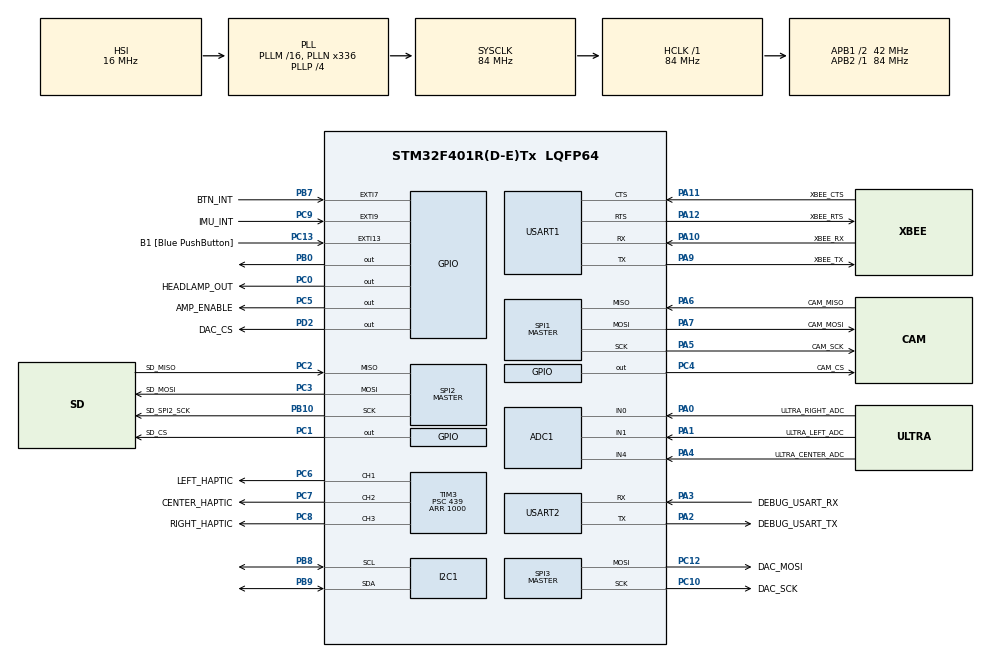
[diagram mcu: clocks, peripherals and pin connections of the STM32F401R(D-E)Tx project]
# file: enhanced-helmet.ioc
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ADC1.Channel-1\#ChannelRegularConversion=ADC_CHANNEL_0
ADC1.Channel-2\#ChannelRegularConversion=ADC_CHANNEL_1
ADC1.Channel-3\#ChannelRegularConversion=ADC_CHANNEL_4
ADC1.ClockPrescaler=ADC_CLOCK_SYNC_PCLK_DIV8
ADC1.ContinuousConvMode=DISABLE
ADC1.NbrOfConversion=3
ADC1.NbrOfConversionFlag=1
ADC1.Rank-1\#ChannelRegularConversion=1
ADC1.Rank-2\#ChannelRegularConversion=2
ADC1.Rank-3\#ChannelRegularConversion=3
ADC1.SamplingTime-1\#ChannelRegularConversion=ADC_SAMPLETIME_3CYCLES
ADC1.SamplingTime-2\#ChannelRegularConversion=ADC_SAMPLETIME_3CYCLES
ADC1.SamplingTime-3\#ChannelRegularConversion=ADC_SAMPLETIME_3CYCLES
ADC1.master=1
Dma.ADC1.2.Direction=DMA_PERIPH_TO_MEMORY
Dma.ADC1.2.FIFOMode=DMA_FIFOMODE_DISABLE
Dma.ADC1.2.Instance=DMA2_Stream0
Dma.ADC1.2.MemDataAlignment=DMA_MDATAALIGN_WORD
Dma.ADC1.2.MemInc=DMA_MINC_ENABLE
Dma.ADC1.2.Mode=DMA_CIRCULAR
Dma.ADC1.2.PeriphDataAlignment=DMA_PDATAALIGN_WORD
Dma.ADC1.2.PeriphInc=DMA_PINC_DISABLE
Dma.ADC1.2.Priority=DMA_PRIORITY_LOW
Dma.Request0=USART1_RX
Dma.Request1=USART1_TX
Dma.Request2=ADC1
Dma.USART1_RX.0.Direction=DMA_PERIPH_TO_MEMORY
Dma.USART1_RX.0.FIFOMode=DMA_FIFOMODE_DISABLE
Dma.USART1_RX.0.Instance=DMA2_Stream2
Dma.USART1_RX.0.MemDataAlignment=DMA_MDATAALIGN_BYTE
Dma.USART1_RX.0.MemInc=DMA_MINC_ENABLE
Dma.USART1_RX.0.Mode=DMA_NORMAL
Dma.USART1_RX.0.PeriphDataAlignment=DMA_PDATAALIGN_BYTE
Dma.USART1_RX.0.PeriphInc=DMA_PINC_DISABLE
Dma.USART1_RX.0.Priority=DMA_PRIORITY_LOW
Dma.USART1_TX.1.Direction=DMA_MEMORY_TO_PERIPH
Dma.USART1_TX.1.FIFOMode=DMA_FIFOMODE_DISABLE
Dma.USART1_TX.1.Instance=DMA2_Stream7
Dma.USART1_TX.1.MemDataAlignment=DMA_MDATAALIGN_BYTE
Dma.USART1_TX.1.MemInc=DMA_MINC_ENABLE
Dma.USART1_TX.1.Mode=DMA_NORMAL
Dma.USART1_TX.1.PeriphDataAlignment=DMA_PDATAALIGN_BYTE
Dma.USART1_TX.1.PeriphInc=DMA_PINC_DISABLE
Dma.USART1_TX.1.Priority=DMA_PRIORITY_LOW
FATFS._FS_LOCK=5
FATFS._FS_TINY=0
FATFS._MAX_SS=4096
FATFS._USE_LFN=1
Mcu.Family=STM32F4
Mcu.Name=STM32F401R(D-E)Tx
Mcu.Package=LQFP64
NVIC.DMA2_Stream0_IRQn=true\:2\:0\:true\:false\:true\:false\:true\:true
NVIC.DMA2_Stream2_IRQn=true\:2\:0\:true\:false\:true\:false\:true\:true
NVIC.DMA2_Stream7_IRQn=true\:2\:0\:true\:false\:true\:false\:true\:true
NVIC.EXTI15_10_IRQn=true\:1\:0\:true\:false\:true\:true\:true\:true
NVIC.EXTI9_5_IRQn=true\:1\:0\:true\:false\:true\:true\:true\:true
NVIC.PriorityGroup=NVIC_PRIORITYGROUP_2
NVIC.TIM1_BRK_TIM9_IRQn=true\:2\:0\:true\:false\:true\:true\:true\:true
NVIC.TIM1_TRG_COM_TIM11_IRQn=true\:1\:0\:true\:false\:true\:true\:true\:true
NVIC.TIM1_UP_TIM10_IRQn=true\:1\:0\:true\:false\:true\:true\:true\:true
NVIC.TIM2_IRQn=true\:2\:0\:true\:false\:true\:true\:true\:true
NVIC.TIM3_IRQn=true\:2\:0\:true\:false\:true\:true\:true\:true
NVIC.TIM4_IRQn=true\:1\:0\:true\:false\:true\:true\:true\:true
NVIC.TIM5_IRQn=true\:2\:0\:true\:false\:true\:true\:true\:true
NVIC.USART1_IRQn=true\:1\:0\:true\:false\:true\:true\:true\:true
PA0-WKUP.GPIO_Label=ULTRA_RIGHT_ADC
PA0-WKUP.Signal=ADCx_IN0
PA1.GPIO_Label=ULTRA_LEFT_ADC
PA1.Signal=ADCx_IN1
PA10.GPIO_Label=XBEE_RX
PA10.Mode=Asynchronous
PA10.Signal=USART1_RX
PA11.GPIO_Label=XBEE_CTS
PA11.Mode=CTS_RTS
PA11.Signal=USART1_CTS
PA12.GPIO_Label=XBEE_RTS
PA12.Mode=CTS_RTS
PA12.Signal=USART1_RTS
PA13.GPIO_Label=TMS
PA13.Mode=Serial_Wire
PA13.Signal=SYS_JTMS-SWDIO
PA14.GPIO_Label=TCK
PA14.Mode=Serial_Wire
PA14.Signal=SYS_JTCK-SWCLK
PA2.GPIO_Label=DEBUG_USART_TX
PA2.GPIO_Mode=GPIO_MODE_AF_PP
PA2.GPIO_PuPd=GPIO_NOPULL
PA2.GPIO_Speed=GPIO_SPEED_FREQ_LOW
PA2.Mode=Asynchronous
PA2.Signal=USART2_TX
PA3.GPIO_Label=DEBUG_USART_RX
PA3.GPIO_Mode=GPIO_MODE_AF_PP
PA3.GPIO_PuPd=GPIO_NOPULL
PA3.GPIO_Speed=GPIO_SPEED_FREQ_LOW
PA3.Mode=Asynchronous
PA3.Signal=USART2_RX
PA4.GPIO_Label=ULTRA_CENTER_ADC
PA4.Signal=ADCx_IN4
PA5.GPIO_Label=CAM_SCK
PA5.Mode=Full_Duplex_Master
PA5.Signal=SPI1_SCK
PA6.GPIO_Label=CAM_MISO
PA6.Mode=Full_Duplex_Master
PA6.Signal=SPI1_MISO
PA7.GPIO_Label=CAM_MOSI
PA7.Mode=Full_Duplex_Master
PA7.Signal=SPI1_MOSI
PA9.GPIO_Label=XBEE_TX
PA9.Mode=Asynchronous
PA9.Signal=USART1_TX
PB0.Signal=GPIO_Output
PB10.GPIO_Label=SD_SPI2_SCK
PB10.GPIO_PuPd=GPIO_PULLUP
PB10.Mode=Full_Duplex_Master
PB10.Signal=SPI2_SCK
PB3.GPIO_Label=SWO
PB3.Signal=SYS_JTDO-SWO
PB7.GPIO_Label=BTN_INT
PB7.GPIO_ModeDefaultEXTI=GPIO_MODE_IT_FALLING
PB7.Signal=GPXTI7
PB8.Mode=I2C
PB8.Signal=I2C1_SCL
PB9.Mode=I2C
PB9.Signal=I2C1_SDA
PC0.GPIO_Label=HEADLAMP_OUT
PC0.GPIO_ModeDefaultOutputPP=GPIO_MODE_OUTPUT_OD
PC0.GPIO_PuPd=GPIO_NOPULL
PC0.Signal=GPIO_Output
PC1.GPIO_Label=SD_CS
PC1.GPIO_PuPd=GPIO_PULLUP
PC1.Signal=GPIO_Output
PC10.GPIO_Label=DAC_SCK
PC10.Mode=TX_Only_Simplex_Unidirect_Master
PC10.Signal=SPI3_SCK
PC12.GPIO_Label=DAC_MOSI
PC12.Mode=TX_Only_Simplex_Unidirect_Master
PC12.Signal=SPI3_MOSI
PC13-ANTI_TAMP.GPIO_Label=B1 [Blue PushButton]
PC13-ANTI_TAMP.GPIO_ModeDefaultEXTI=GPIO_MODE_IT_FALLING
PC13-ANTI_TAMP.GPIO_PuPd=GPIO_NOPULL
PC13-ANTI_TAMP.Signal=GPXTI13
PC14-OSC32_IN.Signal=RCC_OSC32_IN
PC15-OSC32_OUT.Signal=RCC_OSC32_OUT
PC2.GPIO_Label=SD_MISO
PC2.GPIO_PuPd=GPIO_PULLUP
PC2.Mode=Full_Duplex_Master
PC2.Signal=SPI2_MISO
PC3.GPIO_Label=SD_MOSI
PC3.GPIO_PuPd=GPIO_PULLUP
PC3.Mode=Full_Duplex_Master
PC3.Signal=SPI2_MOSI
PC4.GPIO_Label=CAM_CS
PC4.Signal=GPIO_Output
PC5.GPIO_Label=AMP_ENABLE
PC5.Signal=GPIO_Output
PC6.GPIO_Label=LEFT_HAPTIC
PC6.Signal=S_TIM3_CH1
PC7.GPIO_Label=CENTER_HAPTIC
PC7.Signal=S_TIM3_CH2
PC8.GPIO_Label=RIGHT_HAPTIC
PC8.Signal=S_TIM3_CH3
PC9.GPIO_Label=IMU_INT
PC9.Signal=GPXTI9
PD2.GPIO_Label=DAC_CS
PD2.Signal=GPIO_Output
PH0\ -\ OSC_IN.Signal=RCC_OSC_IN
PH1\ -\ OSC_OUT.Signal=RCC_OSC_OUT
ProjectManager.HeapSize=0x200
ProjectManager.StackSize=0x400
ProjectManager.TargetToolchain=STM32CubeIDE
RCC.AHBFreq_Value=84000000
RCC.APB1CLKDivider=RCC_HCLK_DIV2
RCC.APB1Freq_Value=42000000
RCC.APB1TimFreq_Value=84000000
RCC.APB2Freq_Value=84000000
RCC.APB2TimFreq_Value=84000000
RCC.CortexFreq_Value=84000000
RCC.HCLKFreq_Value=84000000
RCC.HSE_VALUE=8000000
RCC.HSI_VALUE=16000000
RCC.LSE_VALUE=32768
RCC.PLLN=336
RCC.PLLP=RCC_PLLP_DIV4
RCC.PLLQ=7
RCC.SYSCLKFreq_VALUE=84000000
RCC.SYSCLKSource=RCC_SYSCLKSOURCE_PLLCLK
RCC.VCOOutputFreq_Value=336000000
SH.ADCx_IN0.0=ADC1_IN0,IN0
SH.ADCx_IN1.0=ADC1_IN1,IN1
SH.ADCx_IN4.0=ADC1_IN4,IN4
SH.S_TIM3_CH1.0=TIM3_CH1,PWM Generation1 CH1
SH.S_TIM3_CH2.0=TIM3_CH2,PWM Generation2 CH2
SH.S_TIM3_CH3.0=TIM3_CH3,PWM Generation3 CH3
SPI1.BaudRatePrescaler=SPI_BAUDRATEPRESCALER_16
SPI1.Direction=SPI_DIRECTION_2LINES
SPI1.Mode=SPI_MODE_MASTER
SPI1.VirtualType=VM_MASTER
SPI2.BaudRatePrescaler=SPI_BAUDRATEPRESCALER_8
SPI2.Direction=SPI_DIRECTION_2LINES
SPI2.Mode=SPI_MODE_MASTER
SPI2.VirtualType=VM_MASTER
SPI3.BaudRatePrescaler=SPI_BAUDRATEPRESCALER_4
SPI3.DataSize=SPI_DATASIZE_16BIT
SPI3.Direction=SPI_DIRECTION_2LINES
SPI3.Mode=SPI_MODE_MASTER
SPI3.VirtualType=VM_MASTER
TIM10.Period=20000
TIM10.Prescaler=8399
TIM11.Prescaler=42000 - 1
TIM2.Period=400000
TIM2.Prescaler=8399
TIM3.Channel-PWM\ Generation1\ CH1=TIM_CHANNEL_1
TIM3.Channel-PWM\ Generation2\ CH2=TIM_CHANNEL_2
TIM3.Channel-PWM\ Generation3\ CH3=TIM_CHANNEL_3
TIM3.Period=1000
TIM3.Prescaler=439
TIM4.AutoReloadPreload=TIM_AUTORELOAD_PRELOAD_ENABLE
TIM4.Period=7619
TIM4.Prescaler=0
TIM5.Period=1000 - 1
TIM5.Prescaler=8400 - 1
TIM9.AutoReloadPreload=TIM_AUTORELOAD_PRELOAD_DISABLE
TIM9.Period=1000
TIM9.Prescaler=8399
USART1.Parity=PARITY_NONE
USART1.VirtualMode=VM_ASYNC
USART1.WordLength=WORDLENGTH_8B
USART2.VirtualMode=VM_ASYNC
VP_FATFS_VS_Generic.Mode=User_defined
VP_TIM10_VS_ClockSourceINT.Mode=Enable_Timer
VP_TIM11_VS_ClockSourceINT.Mode=Enable_Timer
VP_TIM2_VS_ClockSourceINT.Mode=Internal
VP_TIM3_VS_ClockSourceINT.Mode=Internal
VP_TIM4_VS_ClockSourceINT.Mode=Internal
VP_TIM5_VS_ClockSourceINT.Mode=Internal
VP_TIM9_VS_ClockSourceINT.Mode=Internal
board=NUCLEO-F401RE

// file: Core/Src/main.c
/* USER CODE BEGIN Header */
/**
 ******************************************************************************
 * @file           : main.c
 * @brief          : Main program body
 ******************************************************************************
 * @attention
 *
 * Copyright (c) 2023 STMicroelectronics.
 * All rights reserved.
 *
 * This software is licensed under terms that can be found in the LICENSE file
 * in the root directory of this software component.
 * If no LICENSE file comes with this software, it is provided AS-IS.
 *
 ******************************************************************************
 */
/* USER CODE END Header */
#include "main.h"
#include "fatfs.h"

/* USER CODE BEGIN Includes */
#include <stdio.h>
#include <string.h>
#include "OV5462.h"
#include "distance_sensor_array.h"
#include "haptic_pwm.h"
#include "button_array.h"
#include "headlamp.h"
#include "xbee.h"
#include "audio.h"
#include "imu.h"
/* USER CODE END Includes */

/* USER CODE BEGIN PD */

#define CAMERA_SPI hspi1
#define SD_SPI hspi2
#define DAC_SPI hspi3

#define CAMERA_CAPTURE_TIMER htim2
#define DISTANCE_SENSOR_TIMER htim9
#define CHUNK_SIZE 4096

#define HELP_EVENT 2
#define IMPACT_EVENT 1

#define camera
#define sd

/* USER CODE END PD */

ADC_HandleTypeDef hadc1;
DMA_HandleTypeDef hdma_adc1;

I2C_HandleTypeDef hi2c1;

SPI_HandleTypeDef hspi1;
SPI_HandleTypeDef hspi2;
SPI_HandleTypeDef hspi3;

TIM_HandleTypeDef htim2;
TIM_HandleTypeDef htim3;
TIM_HandleTypeDef htim4;
TIM_HandleTypeDef htim5;
TIM_HandleTypeDef htim9;
TIM_HandleTypeDef htim10;
TIM_HandleTypeDef htim11;

UART_HandleTypeDef huart1;
UART_HandleTypeDef huart2;
DMA_HandleTypeDef hdma_usart1_rx;
DMA_HandleTypeDef hdma_usart1_tx;

/* USER CODE BEGIN PV */
// filesystem
FATFS fs;
FATFS * pfs;
FIL fil; // belongs to xbee
FIL fil_cam;
FIL audio_fil;
FRESULT fres;
DWORD fre_clust;
uint32_t total_space, free_space;
uint bw;

// devices
OV5462_t ov5462;
distance_sensor_array_t distance_sensor_array;
Audio audio;
Ext_DAC_t ext_dac;
Buttons btns;
IMU imu;

// flags
uint8_t event_flag = 0; // an impact has occurred, or help is requested
uint8_t init_complete = 0;
uint8_t countdown_flag = 0;
uint8_t alert_flag = 0;
uint8_t welcome_flag = 0;
uint8_t buttons_enable_flag = 0;
uint8_t record_btn_count = 0;
uint32_t record_btn_time = 0;

int capture_flag = 0;
int check_capturing = 0;
int is_header = 0;
int save_requested = 0;
int save_requested_flag = 0;

int impact_occurred = 0;

uint32_t start_audio_tick = 0;

char victim_filepath[MAX_PATH_LENGTH];

// state
enum CameraState { CAMERA_IDLE, CAMERA_RECAPTURE_WAIT, CAMERA_CHECK, CAMERA_SAVE };
enum CameraState camera_state = CAMERA_IDLE;

// xbee
uint32_t devices[MAX_DEVICES];
int num_registered_devices;
XBee_Data xbee_packet;
XBee_Data XBee_Received;
uint32_t UID;
uint32_t victim_uid = 0;
volatile uint8_t tr;
volatile int receiving_file;
extern uint8_t *file_buf;

// camera
uint8_t curr_camera_byte=0;
uint32_t camera_fifo_length = 0;
int camera_buf_idx = 0;
uint8_t camera_buf[CHUNK_SIZE];
int video_id = 0;
FRESULT fr;

uint8_t ULTRASONIC_IGNORE = 1;
uint8_t pulsing = 0;

/* USER CODE END PV */

void SystemClock_Config(void);
static void MX_GPIO_Init(void);
static void MX_DMA_Init(void);
static void MX_I2C1_Init(void);
static void MX_SPI2_Init(void);
static void MX_USART2_UART_Init(void);
static void MX_ADC1_Init(void);
static void MX_SPI1_Init(void);
static void MX_SPI3_Init(void);
static void MX_TIM2_Init(void);
static void MX_USART1_UART_Init(void);
static void MX_TIM3_Init(void);
static void MX_TIM10_Init(void);
static void MX_TIM4_Init(void);
static void MX_TIM11_Init(void);
static void MX_TIM9_Init(void);
static void MX_TIM5_Init(void);

/* USER CODE BEGIN 0 */

void trigger_capture() {
	printf("Capture!\r\n");
	capture_flag = 0;
	OV5462_write_spi_reg(&ov5462, ARDUCHIP_FIFO, FIFO_CLEAR_MASK); // clear flag
	OV5462_write_spi_reg(&ov5462, ARDUCHIP_FIFO, FIFO_RESET_WRITE);
	OV5462_write_spi_reg(&ov5462, ARDUCHIP_FIFO, FIFO_RESET_READ);
	OV5462_write_spi_reg(&ov5462, ARDUCHIP_FIFO, FIFO_START_MASK); // start capture

	check_capturing = 1;
	TIM2->CNT = 0;
}

int read_fifo_and_write_data_file() {
//	while (!(OV5462_read_spi_reg(&ov5462, ARDUCHIP_TRIGGER) & CAPTURE_DONE_MASK)) {}; // wait for buffer to fill before saving
//	while (!(OV5462_read_spi_reg(&ov5462, ARDUCHIP_TRIGGER) & CAPTURE_DONE_MASK)) {}; // wait for final frame
	OV5462_write_spi_reg(&ov5462, ARDUCHIP_FIFO, FIFO_RESET_READ);
	OV5462_write_spi_reg(&ov5462, ARDUCHIP_FIFO, FIFO_CLEAR_MASK); // clear flag

	uint8_t temp=0;
	uint32_t length = 0;
	int i = 0;
	uint8_t buf[CHUNK_SIZE];

	static int video_id = 0;

	length = OV5462_read_fifo_length(&ov5462);
	printf("Buffer length: %lu\r\n", length);

	if (length >= MAX_FIFO_LENGTH) {
		printf("Buffer too large\r\n");
		length = MAX_FIFO_LENGTH-1;
	}

	if (length == 0) {
		printf("Buffer empty\r\n");
		return -1;
	}

//	length = MAX_FIFO_LENGTH-1; // !! ASSUME BUFFER IS FULL !!

	int filename_len = snprintf(NULL, 0, "%d.DAT", video_id);
	char* filename = malloc(filename_len+1);
	snprintf(filename, filename_len+1, "%d.DAT", video_id);

	FRESULT fr = f_open(&fil_cam, filename, FA_OPEN_ALWAYS | FA_READ | FA_WRITE);
	printf("%s\r\n", filename);
	free(filename);
	if (fr) printf("file open failed\r\n");
	++video_id;
	i = 0;

	HAL_GPIO_WritePin(OV5462_CS_GPIO, OV5462_CS_PIN, GPIO_PIN_RESET);
	OV5462_request_FIFO_burst(&ov5462); // send FIFO burst command

	while (length--) {
		temp = SPI_OptimizedReadByte();
		if (i < CHUNK_SIZE) {
			buf[i++] = temp;
		} else {
			HAL_GPIO_WritePin(OV5462_CS_GPIO, OV5462_CS_PIN, GPIO_PIN_SET);

			f_write(&fil_cam, buf, sizeof(uint8_t)*CHUNK_SIZE, &bw);

			i = 0;
			buf[i++] = temp;
			HAL_GPIO_WritePin(OV5462_CS_GPIO, OV5462_CS_PIN, GPIO_PIN_RESET);

			OV5462_request_FIFO_burst(&ov5462); // send FIFO burst command
		}
	}

	HAL_GPIO_WritePin(OV5462_CS_GPIO, OV5462_CS_PIN, GPIO_PIN_SET);
	is_header = 0;
	f_close(&fil_cam);
	printf("Save complete\r\n");
	xbee_packet.command = PrintMessage;
	xbee_packet.target = MASTER_UID;
	strcpy((char *) xbee_packet.data, "Helmet video save complete");
	XBee_Transmit(&xbee_packet);
	save_requested = 0;

	trigger_capture();

//	OV5462_continuous_capture_init(&ov5462); // restore continuous capture functionality

	return 0;
}

int testSD() {
	/* Mount SD Card */
	int ret = 0;
	if(f_mount(&fs, "/", 0) != FR_OK) {
		printf("Failed to mount SD Card\r\n");
		return -1;
	}

	/* Open file to write */
	ret = f_open(&fil, "/TEST.TXT", FA_OPEN_ALWAYS | FA_READ | FA_WRITE);
	if(ret != FR_OK) {
		printf("Failed to open file (%i) \r\n", ret);
		return -1;
	}

	if(f_getfree("", &fre_clust, &pfs) != FR_OK) {
		printf("Free space check failed\r\n");
		return -1;
	}

	total_space = (uint32_t)((pfs->n_fatent - 2) * pfs->csize * 0.5);
	free_space = (uint32_t)(fre_clust * pfs->csize * 0.5);

	/* free space is less than 1kb */
	if(free_space < 1) {
		printf("Drive is full\r\n");
		return -1;
	}

	//	printf("SD CARD MOUNTED! TESTING R/W...\r\n");

	f_puts("TEST", &fil);

	/* Close file */
	ret = f_close(&fil);
	if(ret != FR_OK) {
		printf("Failed to close file (%i) \r\n", ret);
		return -1;
	}

	/* Open file to read */
	ret = f_open(&fil, "/TEST.TXT", FA_READ);
	if(ret != FR_OK) {
		printf("Failed to open in read mode (%i) \r\n", ret);
		return -1;
	}

	char buffer[5];
	f_gets(buffer, sizeof(buffer), &fil);

	if (strcmp(buffer, "TEST")) {
		printf("File contents MISMATCH. FAIL R/W test\r\n");
		return -1;
	}

	//	printf("PASSED: read file contents\r\n");

	/* Close file */
	if(f_close(&fil) != FR_OK) {
		printf("Failed to close\r\n");
		return -1;
	}

	if(f_unlink("test.txt") != FR_OK) {
		printf("Failed to delete test file \r\n");
	}

	return 0;
}

/* INTERRUPT CALLBACKS */
void HAL_TIM_PeriodElapsedCallback(TIM_HandleTypeDef* htim) {
	if (htim == audio.htim) {
		audio_callback(&audio);
	}
	else if (htim == &DISTANCE_SENSOR_TIMER) {
		update_readings_async(&distance_sensor_array);
	} else if (htim == &CAMERA_CAPTURE_TIMER) {
		capture_flag = 1;
		if (impact_occurred) {
			save_requested = 1;
			impact_occurred = 0;
		}

	} else if (htim == HEADLAMP_TIMER) {
		HAL_TIM_Base_Stop_IT(HEADLAMP_TIMER);
		HAL_GPIO_WritePin(HEADLAMP_OUT_GPIO_Port, HEADLAMP_OUT_Pin, GPIO_PIN_SET);
	} else if (htim == FILE_TIMER) {
		HAL_TIM_Base_Stop_IT(FILE_TIMER);
		if (tr && receiving_file) {
			printf("Receiving file timed out\r\n");
			HAL_UART_DMAStop(XBEE_UART);
			HAL_Delay(500);
			free(file_buf);
			receiving_file = 0;
			XBee_Receive(&XBee_Received);
		} else if (!tr) {
			XBee_Transmit_File();
		}
	} else if (htim == PULSE_TIMER) {
		HAL_TIM_Base_Stop_IT(PULSE_TIMER);
		if (pulsing == 1) {
			PWM_ADD(LEFT_PWM, -PULSE_VAL);
		} else if (pulsing == 2) {
			PWM_ADD(RIGHT_PWM, -PULSE_VAL);
		} else {
			PWM_ADD(LEFT_PWM, -PULSE_VAL);
			PWM_ADD(RIGHT_PWM, -PULSE_VAL);
		}
	}
}

void HAL_GPIO_EXTI_Callback(uint16_t GPIO_Pin) {
	// TODO: remove, this is just for testing
	if (GPIO_Pin == 0x2000) {
		printf("Save requested\r\n");
		save_requested = 1;
	} else if (GPIO_Pin & (1 << 7)) { // Buttons interrupt

		if (!buttons_enable_flag) {
			return;
		}

		uint8_t btn = get_released_button(&btns);

		if (btn != NO_BTN && countdown_flag) {
			clear_queue(&audio);
			if (countdown_flag == HELP_EVENT) {
				play_wav(&audio, "/audio/cancel_request.wav");
			} else {
				play_wav(&audio, "/audio/cancel_alert.wav");
			}

			countdown_flag = 0;
//			if (btn == HELP_BTN || btn == RECORD_BTN) {
//				PWM_PULSE_RIGHT();
//			} else {
//				PWM_PULSE_LEFT();
//			}
		} else if (!is_playing(&audio)) {

		switch (btn) {
			case HELP_BTN:
				printf("Help\r\n");
				play_wav(&audio, "/audio/siren.wav"); // possibly change chime
				play_wav(&audio, "/audio/help_siren.wav");
				countdown_flag = HELP_EVENT;
//				PWM_PULSE_RIGHT();
				break;

			case RECORD_BTN:
				printf("Record\r\n");

				if (HAL_GetTick() - record_btn_time < 2000) {
					++record_btn_count;
				} else {
					record_btn_count = 1;
				}

				record_btn_time = HAL_GetTick();

				if (record_btn_count == 2) {
					printf("Recording triggered\r\n");
					record_btn_count = 0;
					if (!save_requested && camera_state != CAMERA_SAVE) {
						// play_wav(&audio, "/audio/important_chime.wav");
						// play_wav(&audio, "/audio/save_video.wav");
						// start_audio_tick = HAL_GetTick();
						 save_requested = 1;
						// capture_flag = 0;
						// TIM2->CNT = 0;
					} else {
						play_wav(&audio, "/audio/error.wav");
						printf("already recording\r\n");
					}
					// TODO: Set camera state machine
					PWM_PULSE_RIGHT();
				}

				break;

			case HAPTICS_BTN:
				if(ULTRASONIC_IGNORE) {
					printf("Enabling Haptics\r\n");
					//play_wav(&audio, "/audio/siren.wav");
					play_wav(&audio, "/audio/enable_haptics.wav");

					PWM_RESET_IGNORE();
				} else {
					printf("Disabling Haptics\r\n");
//					play_wav(&audio, "/audio/video_chime.wav");
					play_wav(&audio, "/audio/disable_haptics.wav");
					PWM_SET_IGNORE();
				}
//				PWM_PULSE_LEFT();
				break;

			case LIGHT_BTN:
				printf("Lights\r\n");
				toggle_headlamp();
				PWM_PULSE_LEFT();
				break;

			default:
				printf("None\r\n");
				break;

			}
		}

	} else if (GPIO_Pin & (1 << 9)) { // IMU collision interrupt
		printf("Impact detected\r\n");
		imu_clear_int1(&imu);
//		play_wav(&audio, "/audio/siren.wav");
		play_wav(&audio, "/audio/impact_siren.wav");
		countdown_flag = IMPACT_EVENT;
		impact_occurred = 1;
	}
}

//
//void play_welcome() {
//
//	if (welcome_flag == 2) {
//		if (is_playing(&audio) || audio.queue[audio.read_pos] != NULL ) {
//			return;
//		}
//		printf("Switching\r\n");
//		welcome_flag = 3;
//	}
//
//	if (welcome_flag == 1) {
//		play_wav(&audio, "/intro/intro_p1.wav");
//		++welcome_flag;
//		//welcome_flag = 0;
//		return;
//	}
//
//	if (welcome_flag == 3) {
//		welcome_flag = 0;
//	}
//
//
//	play_wav(&audio, "/intro/intro_p2.wav");
//	play_wav(&audio, "/intro/intro_p3.wav");
//	play_wav(&audio, "/intro/intro_p4.wav");
//	play_wav(&audio, "/intro/intro_p5.wav");
//	play_wav(&audio, "/intro/intro_p6.wav");
//
//
//}

/* USER CODE END 0 */

int main(void)
{

  /* MCU Configuration--------------------------------------------------------*/

  /* Reset of all peripherals, Initializes the Flash interface and the Systick. */
  HAL_Init();

  /* Configure the system clock */
  SystemClock_Config();

  /* Initialize all configured peripherals */
  MX_GPIO_Init();
  MX_DMA_Init();
  MX_I2C1_Init();
  MX_SPI2_Init();
  MX_USART2_UART_Init();
  MX_FATFS_Init();
  MX_ADC1_Init();
  MX_SPI1_Init();
  MX_SPI3_Init();
  MX_TIM2_Init();
  MX_USART1_UART_Init();
  MX_TIM3_Init();
  MX_TIM10_Init();
  MX_TIM4_Init();
  MX_TIM11_Init();
  MX_TIM9_Init();
  MX_TIM5_Init();
  /* USER CODE BEGIN 2 */
//  SCB->VTOR = FLASH_BASE;
//  __set_BASEPRI(0);

	Headlamp_Init();

	FIX_TIMER_TRIGGER(&htim2);
	FIX_TIMER_TRIGGER(&htim3);
	FIX_TIMER_TRIGGER(&htim4);
	FIX_TIMER_TRIGGER(&htim5);
	FIX_TIMER_TRIGGER(&htim10);
	FIX_TIMER_TRIGGER(&htim9);
	FIX_TIMER_TRIGGER(&htim11);

	HAL_TIM_Base_Start_IT(&htim2);
	HAPTICS_INIT();

	HAL_GPIO_WritePin(OV5462_CS_GPIO, OV5462_CS_PIN, GPIO_PIN_SET);
	uint8_t buf[1] = { 0x00 }; // dummy write
	HAL_SPI_Transmit(&hspi1, buf, 1, 100);

	ov5462.hi2c = &hi2c1;
	ov5462.hspi = &CAMERA_SPI;

	printf("program start!\r\n");

//	/* INITIALIZATION + TESTS BEGIN */
#ifdef sd
	if(testSD()) {
		printf("SD test FAIL!\r\n");
//		return 1;
	} else {
		printf("SD test PASS!\r\n");
	}
#endif

#ifdef camera
	while (1) {
		OV5462_write_spi_reg(&ov5462, 0x00, 0x25);
		uint8_t tmp = OV5462_read_spi_reg(&ov5462, 0x00);

		if (tmp == 0x25) {
			printf("Camera SPI Test PASS!\r\n");
			break; // continue to program
		} else {
			printf("Camera SPI Test FAIL!\r\n");
			HAL_Delay(1000);
		}
	}

	while (1) {
		uint8_t upper = OV5462_read_i2c_reg(&ov5462, CHIPID_UPPER);
		uint8_t lower = OV5462_read_i2c_reg(&ov5462, CHIPID_LOWER);

		if (upper == 0x56 && lower == 0x42) {
			printf("Camera I2C Test PASS!\r\n");
			break; // continue to program
		} else {
			printf("Camera I2C Test FAIL!\r\n");
			HAL_Delay(1000);
		}
	}

	// camera init (sets to JPEG mode)
	if (OV5462_init(&ov5462)) {
		printf("Camera init fail!\r\n");
	}

	OV5462_continuous_capture_init(&ov5462);
#endif

	XBee_Init();
	XBee_Handshake();

	// audio struct initialize
	ext_dac.cs_port = GPIOD;
	ext_dac.cs_pin = GPIO_PIN_2;
	ext_dac.hspi = &hspi3;

	audio.fs = &fs;
	audio.fil = &audio_fil;
	audio.ext_dac = &ext_dac;
	audio.htim = &htim4;
	audio.amp_enable_port = GPIOC;
	audio.amp_enable_pin = GPIO_PIN_5;
	audio_init(&audio);

	btns.hi2c = &hi2c1;
	buttons_init(&btns);

	imu.hi2c = &hi2c1;
	imu_init(&imu);

	distance_sensor_array.hadc = &hadc1;

	/* INITIALIZATION + TESTS END */

	//HAL_NVIC_DisableIRQ(TIM4_IRQn);
#ifdef camera
	OV5462_continuous_capture_init(&ov5462);

	 trigger_capture();
	 check_capturing = 1;

	TIM2->CNT = 0;
#endif
	//HAL_NVIC_EnableIRQ(TIM4_IRQn);
	HAL_TIM_Base_Start_IT(&htim9);
	init_complete = 1;

//	__set_BASEPRI(1 << 4);
//	while (1) {}

  /* USER CODE END 2 */

  /* Infinite loop */
  /* USER CODE BEGIN WHILE */
	while (1)
	{
		/* UPDATES (ALWAYS RUN) */

		if (!buttons_enable_flag) {
			imu_update(&imu);

			printf("%d\r\n", imu.z_accel);

			if (imu.z_accel < -3500) {
				buttons_enable_flag = 1;
				play_wav(&audio, "/audio/init.wav");
			}
		}

//		printf("%lu\t%lu\t%lu\r\n", distance_sensor_array.readings[LEFT_SENSOR],
//					distance_sensor_array.readings[CENTER_SENSOR],
//					distance_sensor_array.readings[RIGHT_SENSOR]);
		PWM_SET_CENTER(get_motor_value(&distance_sensor_array, CENTER_SENSOR));
		PWM_SET_LEFT(get_motor_value(&distance_sensor_array, LEFT_SENSOR));
		PWM_SET_RIGHT(get_motor_value(&distance_sensor_array, RIGHT_SENSOR));

		check_and_fill_audio_buf(&audio);

		/* MAIN STATE MACHINE */
		if (countdown_flag && (audio.read_pos == audio.write_pos) && !is_playing(&audio)) {
			event_flag = countdown_flag;
			countdown_flag = 0;

			xbee_packet.target = 0; // alert everyone

			if (event_flag == HELP_EVENT) {
//				play_wav(&audio, "/audio/request_sent.wav");
				xbee_packet.command = HelpEvent;
			}
			else {
//				play_wav(&audio, "/audio/alert_sent.wav");
				xbee_packet.command = ImpactEvent;
			}

			XBee_Transmit(&xbee_packet);

			event_flag = 0;
//			save_requested = 1;
//			capture_flag = 0;
//			TIM2->CNT = 0;
//			start_audio_tick = HAL_GetTick();
		}

		if (alert_flag) {
			clear_queue(&audio);
			play_wav(&audio, "/audio/important_chime.wav");
			sprintf(victim_filepath, "/audio/%u.wav", (uint) victim_uid);
			play_wav(&audio, victim_filepath);

			if (alert_flag == HELP_ALERT) {
				play_wav(&audio, "/audio/help_response.wav");
			} else if (alert_flag == IMPACT_ALERT) {
				play_wav(&audio, "/audio/impact_response.wav");
			}

			alert_flag = 0;
		}

//		if (save_requested_flag) {
//			save_requested = 1;
//			save_requested_flag = 0;
//		}

//		if (!audio.is_playing) {
//				printf("Audio not playing\r\n");
//		}

#ifdef camera
		/* CAMERA STATE MACHINE */

//		HAL_NVIC_DisableIRQ(TIM4_IRQn);
		if (capture_flag && (OV5462_read_spi_reg(&ov5462, ARDUCHIP_TRIGGER) & CAPTURE_DONE_MASK)) {
			 if (save_requested) {
				 read_fifo_and_write_data_file();
			 } else if (!impact_occurred) {
				 trigger_capture();
			 }
		 }

		 if (!impact_occurred && check_capturing) {
			 if (TIM2->CNT < 10000) {
				 if (OV5462_read_spi_reg(&ov5462, ARDUCHIP_TRIGGER) & CAPTURE_DONE_MASK) {
					 uint32_t length = OV5462_read_fifo_length(&ov5462);

					 if (length < 0x3FFFFF && length > 0) {
						 printf("Premature capture completion! %lu bytes \r\n", length);

						OV5462_write_spi_reg(&ov5462, ARDUCHIP_FIFO, FIFO_CLEAR_MASK);
						OV5462_write_spi_reg(&ov5462, ARDUCHIP_FIFO, FIFO_START_MASK);
						check_capturing = 0;
					 } else {
						 OV5462_write_spi_reg(&ov5462, ARDUCHIP_FIFO, FIFO_CLEAR_MASK);
						 OV5462_write_spi_reg(&ov5462, ARDUCHIP_FIFO, FIFO_START_MASK);
					 }
				 }
			 } else {
				 check_capturing = 0; // it's been over a second, the capture probably started successfully
			 }
		 }

//		HAL_NVIC_EnableIRQ(TIM4_IRQn);

		//HAL_NVIC_EnableIRQ(TIM4_IRQn);
#endif
    /* USER CODE END WHILE */

	}
}

void SystemClock_Config(void)
{
  RCC_OscInitTypeDef RCC_OscInitStruct = {0};
  RCC_ClkInitTypeDef RCC_ClkInitStruct = {0};

  /** Configure the main internal regulator output voltage
  */
  __HAL_RCC_PWR_CLK_ENABLE();
  __HAL_PWR_VOLTAGESCALING_CONFIG(PWR_REGULATOR_VOLTAGE_SCALE2);

  /** Initializes the RCC Oscillators according to the specified parameters
  * in the RCC_OscInitTypeDef structure.
  */
  RCC_OscInitStruct.OscillatorType = RCC_OSCILLATORTYPE_HSI;
  RCC_OscInitStruct.HSIState = RCC_HSI_ON;
  RCC_OscInitStruct.HSICalibrationValue = RCC_HSICALIBRATION_DEFAULT;
  RCC_OscInitStruct.PLL.PLLState = RCC_PLL_ON;
  RCC_OscInitStruct.PLL.PLLSource = RCC_PLLSOURCE_HSI;
  RCC_OscInitStruct.PLL.PLLM = 16;
  RCC_OscInitStruct.PLL.PLLN = 336;
  RCC_OscInitStruct.PLL.PLLP = RCC_PLLP_DIV4;
  RCC_OscInitStruct.PLL.PLLQ = 7;
  if (HAL_RCC_OscConfig(&RCC_OscInitStruct) != HAL_OK)
  {
    Error_Handler();
  }

  /** Initializes the CPU, AHB and APB buses clocks
  */
  RCC_ClkInitStruct.ClockType = RCC_CLOCKTYPE_HCLK|RCC_CLOCKTYPE_SYSCLK
                              |RCC_CLOCKTYPE_PCLK1|RCC_CLOCKTYPE_PCLK2;
  RCC_ClkInitStruct.SYSCLKSource = RCC_SYSCLKSOURCE_PLLCLK;
  RCC_ClkInitStruct.AHBCLKDivider = RCC_SYSCLK_DIV1;
  RCC_ClkInitStruct.APB1CLKDivider = RCC_HCLK_DIV2;
  RCC_ClkInitStruct.APB2CLKDivider = RCC_HCLK_DIV1;

  if (HAL_RCC_ClockConfig(&RCC_ClkInitStruct, FLASH_LATENCY_2) != HAL_OK)
  {
    Error_Handler();
  }
}

static void MX_ADC1_Init(void)
{

  ADC_ChannelConfTypeDef sConfig = {0};

  /** Configure the global features of the ADC (Clock, Resolution, Data Alignment and number of conversion)
  */
  hadc1.Instance = ADC1;
  hadc1.Init.ClockPrescaler = ADC_CLOCK_SYNC_PCLK_DIV8;
  hadc1.Init.Resolution = ADC_RESOLUTION_12B;
  hadc1.Init.ScanConvMode = ENABLE;
  hadc1.Init.ContinuousConvMode = DISABLE;
  hadc1.Init.DiscontinuousConvMode = DISABLE;
  hadc1.Init.ExternalTrigConvEdge = ADC_EXTERNALTRIGCONVEDGE_NONE;
  hadc1.Init.ExternalTrigConv = ADC_SOFTWARE_START;
  hadc1.Init.DataAlign = ADC_DATAALIGN_RIGHT;
  hadc1.Init.NbrOfConversion = 3;
  hadc1.Init.DMAContinuousRequests = DISABLE;
  hadc1.Init.EOCSelection = ADC_EOC_SINGLE_CONV;
  if (HAL_ADC_Init(&hadc1) != HAL_OK)
  {
    Error_Handler();
  }

  /** Configure for the selected ADC regular channel its corresponding rank in the sequencer and its sample time.
  */
  sConfig.Channel = ADC_CHANNEL_0;
  sConfig.Rank = 1;
  sConfig.SamplingTime = ADC_SAMPLETIME_3CYCLES;
  if (HAL_ADC_ConfigChannel(&hadc1, &sConfig) != HAL_OK)
  {
    Error_Handler();
  }

  /** Configure for the selected ADC regular channel its corresponding rank in the sequencer and its sample time.
  */
  sConfig.Channel = ADC_CHANNEL_1;
  sConfig.Rank = 2;
  if (HAL_ADC_ConfigChannel(&hadc1, &sConfig) != HAL_OK)
  {
    Error_Handler();
  }

  /** Configure for the selected ADC regular channel its corresponding rank in the sequencer and its sample time.
  */
  sConfig.Channel = ADC_CHANNEL_4;
  sConfig.Rank = 3;
  if (HAL_ADC_ConfigChannel(&hadc1, &sConfig) != HAL_OK)
  {
    Error_Handler();
  }

}

static void MX_I2C1_Init(void)
{

  hi2c1.Instance = I2C1;
  hi2c1.Init.ClockSpeed = 100000;
  hi2c1.Init.DutyCycle = I2C_DUTYCYCLE_2;
  hi2c1.Init.OwnAddress1 = 0;
  hi2c1.Init.AddressingMode = I2C_ADDRESSINGMODE_7BIT;
  hi2c1.Init.DualAddressMode = I2C_DUALADDRESS_DISABLE;
  hi2c1.Init.OwnAddress2 = 0;
  hi2c1.Init.GeneralCallMode = I2C_GENERALCALL_DISABLE;
  hi2c1.Init.NoStretchMode = I2C_NOSTRETCH_DISABLE;
  if (HAL_I2C_Init(&hi2c1) != HAL_OK)
  {
    Error_Handler();
  }

}

static void MX_SPI1_Init(void)
{

  /* SPI1 parameter configuration*/
  hspi1.Instance = SPI1;
  hspi1.Init.Mode = SPI_MODE_MASTER;
  hspi1.Init.Direction = SPI_DIRECTION_2LINES;
  hspi1.Init.DataSize = SPI_DATASIZE_8BIT;
  hspi1.Init.CLKPolarity = SPI_POLARITY_LOW;
  hspi1.Init.CLKPhase = SPI_PHASE_1EDGE;
  hspi1.Init.NSS = SPI_NSS_SOFT;
  hspi1.Init.BaudRatePrescaler = SPI_BAUDRATEPRESCALER_16;
  hspi1.Init.FirstBit = SPI_FIRSTBIT_MSB;
  hspi1.Init.TIMode = SPI_TIMODE_DISABLE;
  hspi1.Init.CRCCalculation = SPI_CRCCALCULATION_DISABLE;
  hspi1.Init.CRCPolynomial = 10;
  if (HAL_SPI_Init(&hspi1) != HAL_OK)
  {
    Error_Handler();
  }

}

static void MX_SPI2_Init(void)
{

  /* SPI2 parameter configuration*/
  hspi2.Instance = SPI2;
  hspi2.Init.Mode = SPI_MODE_MASTER;
  hspi2.Init.Direction = SPI_DIRECTION_2LINES;
  hspi2.Init.DataSize = SPI_DATASIZE_8BIT;
  hspi2.Init.CLKPolarity = SPI_POLARITY_LOW;
  hspi2.Init.CLKPhase = SPI_PHASE_1EDGE;
  hspi2.Init.NSS = SPI_NSS_SOFT;
  hspi2.Init.BaudRatePrescaler = SPI_BAUDRATEPRESCALER_8;
  hspi2.Init.FirstBit = SPI_FIRSTBIT_MSB;
  hspi2.Init.TIMode = SPI_TIMODE_DISABLE;
  hspi2.Init.CRCCalculation = SPI_CRCCALCULATION_DISABLE;
  hspi2.Init.CRCPolynomial = 10;
  if (HAL_SPI_Init(&hspi2) != HAL_OK)
  {
    Error_Handler();
  }

}

static void MX_SPI3_Init(void)
{

  /* SPI3 parameter configuration*/
  hspi3.Instance = SPI3;
  hspi3.Init.Mode = SPI_MODE_MASTER;
  hspi3.Init.Direction = SPI_DIRECTION_2LINES;
  hspi3.Init.DataSize = SPI_DATASIZE_16BIT;
  hspi3.Init.CLKPolarity = SPI_POLARITY_LOW;
  hspi3.Init.CLKPhase = SPI_PHASE_1EDGE;
  hspi3.Init.NSS = SPI_NSS_SOFT;
  hspi3.Init.BaudRatePrescaler = SPI_BAUDRATEPRESCALER_4;
  hspi3.Init.FirstBit = SPI_FIRSTBIT_MSB;
  hspi3.Init.TIMode = SPI_TIMODE_DISABLE;
  hspi3.Init.CRCCalculation = SPI_CRCCALCULATION_DISABLE;
  hspi3.Init.CRCPolynomial = 10;
  if (HAL_SPI_Init(&hspi3) != HAL_OK)
  {
    Error_Handler();
  }

}

static void MX_TIM2_Init(void)
{

  TIM_ClockConfigTypeDef sClockSourceConfig = {0};
  TIM_MasterConfigTypeDef sMasterConfig = {0};

  htim2.Instance = TIM2;
  htim2.Init.Prescaler = 8399;
  htim2.Init.CounterMode = TIM_COUNTERMODE_UP;
  htim2.Init.Period = 400000;
  htim2.Init.ClockDivision = TIM_CLOCKDIVISION_DIV1;
  htim2.Init.AutoReloadPreload = TIM_AUTORELOAD_PRELOAD_DISABLE;
  if (HAL_TIM_Base_Init(&htim2) != HAL_OK)
  {
    Error_Handler();
  }
  sClockSourceConfig.ClockSource = TIM_CLOCKSOURCE_INTERNAL;
  if (HAL_TIM_ConfigClockSource(&htim2, &sClockSourceConfig) != HAL_OK)
  {
    Error_Handler();
  }
  sMasterConfig.MasterOutputTrigger = TIM_TRGO_RESET;
  sMasterConfig.MasterSlaveMode = TIM_MASTERSLAVEMODE_DISABLE;
  if (HAL_TIMEx_MasterConfigSynchronization(&htim2, &sMasterConfig) != HAL_OK)
  {
    Error_Handler();
  }

}

static void MX_TIM3_Init(void)
{

  TIM_ClockConfigTypeDef sClockSourceConfig = {0};
  TIM_MasterConfigTypeDef sMasterConfig = {0};
  TIM_OC_InitTypeDef sConfigOC = {0};

  htim3.Instance = TIM3;
  htim3.Init.Prescaler = 439;
  htim3.Init.CounterMode = TIM_COUNTERMODE_UP;
  htim3.Init.Period = 1000;
  htim3.Init.ClockDivision = TIM_CLOCKDIVISION_DIV1;
  htim3.Init.AutoReloadPreload = TIM_AUTORELOAD_PRELOAD_DISABLE;
  if (HAL_TIM_Base_Init(&htim3) != HAL_OK)
  {
    Error_Handler();
  }
  sClockSourceConfig.ClockSource = TIM_CLOCKSOURCE_INTERNAL;
  if (HAL_TIM_ConfigClockSource(&htim3, &sClockSourceConfig) != HAL_OK)
  {
    Error_Handler();
  }
  if (HAL_TIM_PWM_Init(&htim3) != HAL_OK)
  {
    Error_Handler();
  }
  sMasterConfig.MasterOutputTrigger = TIM_TRGO_RESET;
  sMasterConfig.MasterSlaveMode = TIM_MASTERSLAVEMODE_DISABLE;
  if (HAL_TIMEx_MasterConfigSynchronization(&htim3, &sMasterConfig) != HAL_OK)
  {
    Error_Handler();
  }
  sConfigOC.OCMode = TIM_OCMODE_PWM1;
  sConfigOC.Pulse = 0;
  sConfigOC.OCPolarity = TIM_OCPOLARITY_HIGH;
  sConfigOC.OCFastMode = TIM_OCFAST_DISABLE;
  if (HAL_TIM_PWM_ConfigChannel(&htim3, &sConfigOC, TIM_CHANNEL_1) != HAL_OK)
  {
    Error_Handler();
  }
  if (HAL_TIM_PWM_ConfigChannel(&htim3, &sConfigOC, TIM_CHANNEL_2) != HAL_OK)
  {
    Error_Handler();
  }
  if (HAL_TIM_PWM_ConfigChannel(&htim3, &sConfigOC, TIM_CHANNEL_3) != HAL_OK)
  {
    Error_Handler();
  }
  HAL_TIM_MspPostInit(&htim3);

}

static void MX_TIM4_Init(void)
{

  TIM_ClockConfigTypeDef sClockSourceConfig = {0};
  TIM_MasterConfigTypeDef sMasterConfig = {0};

  htim4.Instance = TIM4;
  htim4.Init.Prescaler = 0;
  htim4.Init.CounterMode = TIM_COUNTERMODE_UP;
  htim4.Init.Period = 7619;
  htim4.Init.ClockDivision = TIM_CLOCKDIVISION_DIV1;
  htim4.Init.AutoReloadPreload = TIM_AUTORELOAD_PRELOAD_ENABLE;
  if (HAL_TIM_Base_Init(&htim4) != HAL_OK)
  {
    Error_Handler();
  }
  sClockSourceConfig.ClockSource = TIM_CLOCKSOURCE_INTERNAL;
  if (HAL_TIM_ConfigClockSource(&htim4, &sClockSourceConfig) != HAL_OK)
  {
    Error_Handler();
  }
  sMasterConfig.MasterOutputTrigger = TIM_TRGO_RESET;
  sMasterConfig.MasterSlaveMode = TIM_MASTERSLAVEMODE_DISABLE;
  if (HAL_TIMEx_MasterConfigSynchronization(&htim4, &sMasterConfig) != HAL_OK)
  {
    Error_Handler();
  }

}

static void MX_TIM5_Init(void)
{

  TIM_ClockConfigTypeDef sClockSourceConfig = {0};
  TIM_MasterConfigTypeDef sMasterConfig = {0};

  htim5.Instance = TIM5;
  htim5.Init.Prescaler = 8400 - 1;
  htim5.Init.CounterMode = TIM_COUNTERMODE_UP;
  htim5.Init.Period = 1000 - 1;
  htim5.Init.ClockDivision = TIM_CLOCKDIVISION_DIV1;
  htim5.Init.AutoReloadPreload = TIM_AUTORELOAD_PRELOAD_DISABLE;
  if (HAL_TIM_Base_Init(&htim5) != HAL_OK)
  {
    Error_Handler();
  }
  sClockSourceConfig.ClockSource = TIM_CLOCKSOURCE_INTERNAL;
  if (HAL_TIM_ConfigClockSource(&htim5, &sClockSourceConfig) != HAL_OK)
  {
    Error_Handler();
  }
  sMasterConfig.MasterOutputTrigger = TIM_TRGO_RESET;
  sMasterConfig.MasterSlaveMode = TIM_MASTERSLAVEMODE_DISABLE;
  if (HAL_TIMEx_MasterConfigSynchronization(&htim5, &sMasterConfig) != HAL_OK)
  {
    Error_Handler();
  }

}

static void MX_TIM9_Init(void)
{

  TIM_ClockConfigTypeDef sClockSourceConfig = {0};

  htim9.Instance = TIM9;
  htim9.Init.Prescaler = 8399;
  htim9.Init.CounterMode = TIM_COUNTERMODE_UP;
  htim9.Init.Period = 1000;
  htim9.Init.ClockDivision = TIM_CLOCKDIVISION_DIV1;
  htim9.Init.AutoReloadPreload = TIM_AUTORELOAD_PRELOAD_DISABLE;
  if (HAL_TIM_Base_Init(&htim9) != HAL_OK)
  {
    Error_Handler();
  }
  sClockSourceConfig.ClockSource = TIM_CLOCKSOURCE_INTERNAL;
  if (HAL_TIM_ConfigClockSource(&htim9, &sClockSourceConfig) != HAL_OK)
  {
    Error_Handler();
  }

}

static void MX_TIM10_Init(void)
{

  htim10.Instance = TIM10;
  htim10.Init.Prescaler = 8399;
  htim10.Init.CounterMode = TIM_COUNTERMODE_UP;
  htim10.Init.Period = 20000;
  htim10.Init.ClockDivision = TIM_CLOCKDIVISION_DIV1;
  htim10.Init.AutoReloadPreload = TIM_AUTORELOAD_PRELOAD_DISABLE;
  if (HAL_TIM_Base_Init(&htim10) != HAL_OK)
  {
    Error_Handler();
  }

}

static void MX_TIM11_Init(void)
{

  htim11.Instance = TIM11;
  htim11.Init.Prescaler = 42000 - 1;
  htim11.Init.CounterMode = TIM_COUNTERMODE_UP;
  htim11.Init.Period = 65535;
  htim11.Init.ClockDivision = TIM_CLOCKDIVISION_DIV1;
  htim11.Init.AutoReloadPreload = TIM_AUTORELOAD_PRELOAD_DISABLE;
  if (HAL_TIM_Base_Init(&htim11) != HAL_OK)
  {
    Error_Handler();
  }

}

static void MX_USART1_UART_Init(void)
{

  huart1.Instance = USART1;
  huart1.Init.BaudRate = 115200;
  huart1.Init.WordLength = UART_WORDLENGTH_8B;
  huart1.Init.StopBits = UART_STOPBITS_1;
  huart1.Init.Parity = UART_PARITY_NONE;
  huart1.Init.Mode = UART_MODE_TX_RX;
  huart1.Init.HwFlowCtl = UART_HWCONTROL_RTS_CTS;
  huart1.Init.OverSampling = UART_OVERSAMPLING_16;
  if (HAL_UART_Init(&huart1) != HAL_OK)
  {
    Error_Handler();
  }

}

static void MX_USART2_UART_Init(void)
{

  huart2.Instance = USART2;
  huart2.Init.BaudRate = 115200;
  huart2.Init.WordLength = UART_WORDLENGTH_8B;
  huart2.Init.StopBits = UART_STOPBITS_1;
  huart2.Init.Parity = UART_PARITY_NONE;
  huart2.Init.Mode = UART_MODE_TX_RX;
  huart2.Init.HwFlowCtl = UART_HWCONTROL_NONE;
  huart2.Init.OverSampling = UART_OVERSAMPLING_16;
  if (HAL_UART_Init(&huart2) != HAL_OK)
  {
    Error_Handler();
  }

}

static void MX_DMA_Init(void)
{

  /* DMA controller clock enable */
  __HAL_RCC_DMA2_CLK_ENABLE();

  /* DMA interrupt init */
  /* DMA2_Stream0_IRQn interrupt configuration */
  HAL_NVIC_SetPriority(DMA2_Stream0_IRQn, 2, 0);
  HAL_NVIC_EnableIRQ(DMA2_Stream0_IRQn);
  /* DMA2_Stream2_IRQn interrupt configuration */
  HAL_NVIC_SetPriority(DMA2_Stream2_IRQn, 2, 0);
  HAL_NVIC_EnableIRQ(DMA2_Stream2_IRQn);
  /* DMA2_Stream7_IRQn interrupt configuration */
  HAL_NVIC_SetPriority(DMA2_Stream7_IRQn, 2, 0);
  HAL_NVIC_EnableIRQ(DMA2_Stream7_IRQn);

}

static void MX_GPIO_Init(void)
{
  GPIO_InitTypeDef GPIO_InitStruct = {0};

  /* GPIO Ports Clock Enable */
  __HAL_RCC_GPIOC_CLK_ENABLE();
  __HAL_RCC_GPIOH_CLK_ENABLE();
  __HAL_RCC_GPIOA_CLK_ENABLE();
  __HAL_RCC_GPIOB_CLK_ENABLE();
  __HAL_RCC_GPIOD_CLK_ENABLE();

  /*Configure GPIO pin Output Level */
  HAL_GPIO_WritePin(GPIOC, HEADLAMP_OUT_Pin|SD_CS_Pin|CAM_CS_Pin|AMP_ENABLE_Pin, GPIO_PIN_RESET);

  /*Configure GPIO pin Output Level */
  HAL_GPIO_WritePin(GPIOB, GPIO_PIN_0, GPIO_PIN_RESET);

  /*Configure GPIO pin Output Level */
  HAL_GPIO_WritePin(DAC_CS_GPIO_Port, DAC_CS_Pin, GPIO_PIN_RESET);

  /*Configure GPIO pin : B1_Pin */
  GPIO_InitStruct.Pin = B1_Pin;
  GPIO_InitStruct.Mode = GPIO_MODE_IT_FALLING;
  GPIO_InitStruct.Pull = GPIO_NOPULL;
  HAL_GPIO_Init(B1_GPIO_Port, &GPIO_InitStruct);

  /*Configure GPIO pin : HEADLAMP_OUT_Pin */
  GPIO_InitStruct.Pin = HEADLAMP_OUT_Pin;
  GPIO_InitStruct.Mode = GPIO_MODE_OUTPUT_OD;
  GPIO_InitStruct.Pull = GPIO_NOPULL;
  GPIO_InitStruct.Speed = GPIO_SPEED_FREQ_LOW;
  HAL_GPIO_Init(HEADLAMP_OUT_GPIO_Port, &GPIO_InitStruct);

  /*Configure GPIO pin : SD_CS_Pin */
  GPIO_InitStruct.Pin = SD_CS_Pin;
  GPIO_InitStruct.Mode = GPIO_MODE_OUTPUT_PP;
  GPIO_InitStruct.Pull = GPIO_PULLUP;
  GPIO_InitStruct.Speed = GPIO_SPEED_FREQ_LOW;
  HAL_GPIO_Init(SD_CS_GPIO_Port, &GPIO_InitStruct);

  /*Configure GPIO pins : CAM_CS_Pin AMP_ENABLE_Pin */
  GPIO_InitStruct.Pin = CAM_CS_Pin|AMP_ENABLE_Pin;
  GPIO_InitStruct.Mode = GPIO_MODE_OUTPUT_PP;
  GPIO_InitStruct.Pull = GPIO_NOPULL;
  GPIO_InitStruct.Speed = GPIO_SPEED_FREQ_LOW;
  HAL_GPIO_Init(GPIOC, &GPIO_InitStruct);

  /*Configure GPIO pin : PB0 */
  GPIO_InitStruct.Pin = GPIO_PIN_0;
  GPIO_InitStruct.Mode = GPIO_MODE_OUTPUT_PP;
  GPIO_InitStruct.Pull = GPIO_NOPULL;
  GPIO_InitStruct.Speed = GPIO_SPEED_FREQ_LOW;
  HAL_GPIO_Init(GPIOB, &GPIO_InitStruct);

  /*Configure GPIO pin : IMU_INT_Pin */
  GPIO_InitStruct.Pin = IMU_INT_Pin;
  GPIO_InitStruct.Mode = GPIO_MODE_IT_RISING;
  GPIO_InitStruct.Pull = GPIO_NOPULL;
  HAL_GPIO_Init(IMU_INT_GPIO_Port, &GPIO_InitStruct);

  /*Configure GPIO pin : DAC_CS_Pin */
  GPIO_InitStruct.Pin = DAC_CS_Pin;
  GPIO_InitStruct.Mode = GPIO_MODE_OUTPUT_PP;
  GPIO_InitStruct.Pull = GPIO_NOPULL;
  GPIO_InitStruct.Speed = GPIO_SPEED_FREQ_LOW;
  HAL_GPIO_Init(DAC_CS_GPIO_Port, &GPIO_InitStruct);

  /*Configure GPIO pin : BTN_INT_Pin */
  GPIO_InitStruct.Pin = BTN_INT_Pin;
  GPIO_InitStruct.Mode = GPIO_MODE_IT_FALLING;
  GPIO_InitStruct.Pull = GPIO_NOPULL;
  HAL_GPIO_Init(BTN_INT_GPIO_Port, &GPIO_InitStruct);

  /* EXTI interrupt init*/
  HAL_NVIC_SetPriority(EXTI9_5_IRQn, 1, 0);
  HAL_NVIC_EnableIRQ(EXTI9_5_IRQn);

  HAL_NVIC_SetPriority(EXTI15_10_IRQn, 1, 0);
  HAL_NVIC_EnableIRQ(EXTI15_10_IRQn);

}

/* USER CODE BEGIN 4 */
#ifdef __GNUC__
#define PUTCHAR_PROTOTYPE int __io_putchar(int ch)
#else
#define PUTCHAR_PROTOTYPE int fputc(int ch, FILE *f)
#endif /* __GNUC__ */
PUTCHAR_PROTOTYPE
{
	HAL_UART_Transmit(&huart2, (uint8_t *)&ch, 1, 0xFFFF);
	return ch;
}
/* USER CODE END 4 */

void Error_Handler(void)
{
	__disable_irq();
	while (1)
	{
	}
}
